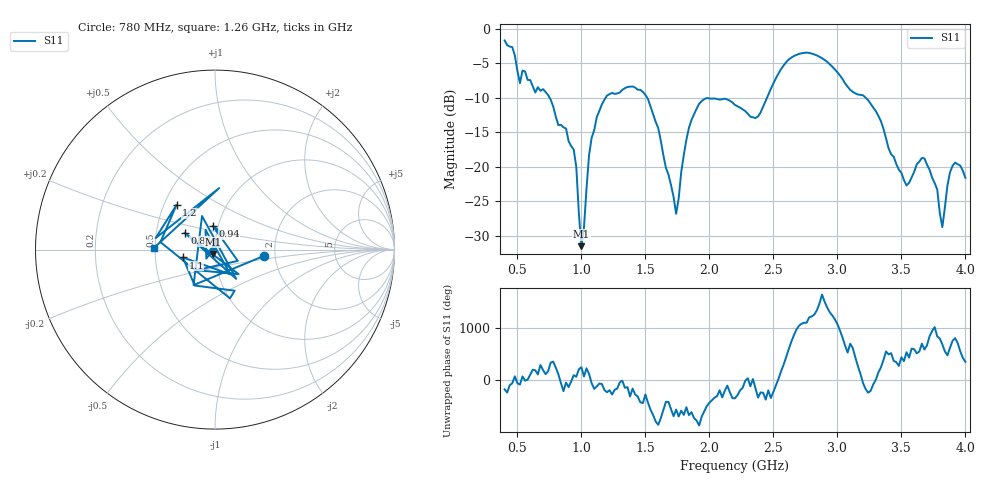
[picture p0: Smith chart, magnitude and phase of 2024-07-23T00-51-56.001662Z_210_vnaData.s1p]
!Created with skrf (http://scikit-rf.org).
# Hz S RI R 50.0
!freq ReS11 ImS11
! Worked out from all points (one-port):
!   181 points, 400 MHz to 4 GHz, reference 50 ohm
!   lowest |S11| = -31.5 dB at 1 GHz (marker M1), VSWR 1.05, Z = 48.9 - j2.38 ohm
!   |S11| at or under -10 dB: 752.2 MHz to 1.189 GHz (436.6 MHz wide, 45 % of centre); 1.514 GHz to 2.449 GHz (935 MHz wide, 47.2 % of centre); 3.222 GHz to end of sweep
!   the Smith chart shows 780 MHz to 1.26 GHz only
!   S11 on the Smith chart (normalised r, x): 780 MHz: 1.74, -0.13; 860 MHz: 0.70, +0.14; 940 MHz: 0.94, +0.25; 1.1 GHz: 0.69, -0.06; 1.2 GHz: 0.58, +0.32; 1.26 GHz: 0.50, +0.01
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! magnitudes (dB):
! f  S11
! 400 MHz  -1.7
! 520 MHz  -7.9
! 560 MHz  -6.2
! 780 MHz  -11.3
! 860 MHz  -14.3
! 940 MHz  -17.5
! 1 GHz  -31.5
! 1.06 GHz  -18.3
! 1.1 GHz  -14.7
! 1.2 GHz  -9.7
! 1.26 GHz  -9.4
! 1.3 GHz  -9.2
! 1.52 GHz  -10.2
! 1.74 GHz  -26.8
! 1.76 GHz  -24.6
! 1.84 GHz  -14.4
! 1.92 GHz  -10.8
! 2.2 GHz  -11.0
! 2.38 GHz  -12.7
! 2.66 GHz  -3.9
! 3.1 GHz  -8.8
! 3.3 GHz  -11.9
! 3.56 GHz  -22.3
! 3.68 GHz  -18.8
! 3.78 GHz  -23.3
! 3.82 GHz  -28.7
! 3.9 GHz  -19.8
! 4 GHz  -21.6
